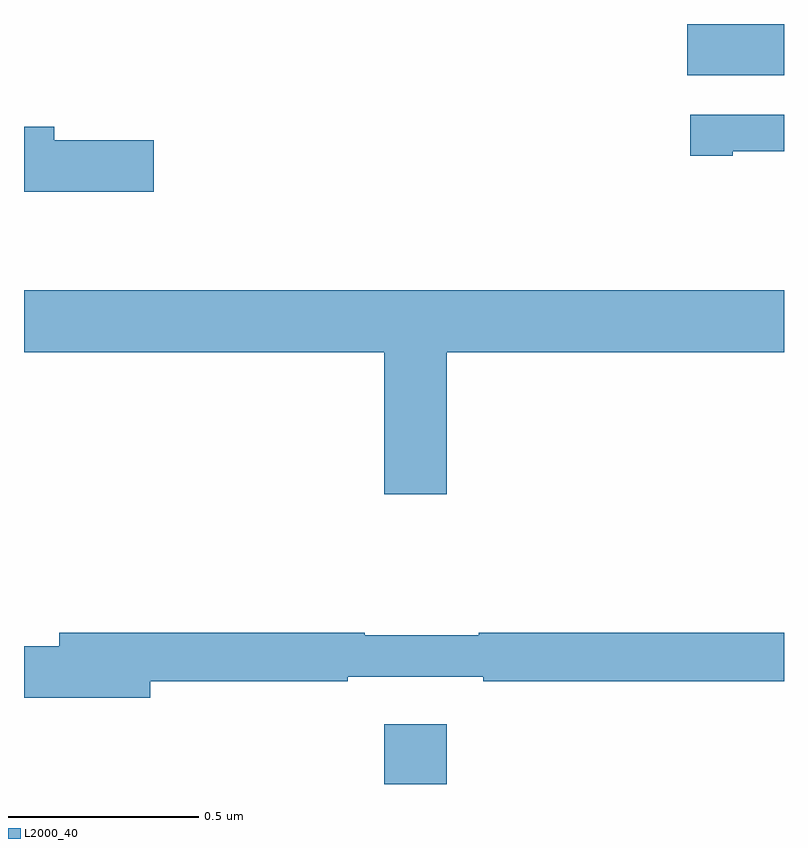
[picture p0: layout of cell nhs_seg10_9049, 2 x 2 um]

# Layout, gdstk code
import gdstk
lib = gdstk.Library(unit=1e-6, precision=1e-09)
def R(c, l, rs):  # rectangles x0, y0, x1, y1
    for r in rs: c.add(gdstk.rectangle(r[:2], r[2:], *l))
def P(c, l, *ps):  # polygons
    for p in ps: c.add(gdstk.Polygon(p, *l))
L2000_40 = (2000, 40)

nhs_seg10_9049 = lib.new_cell('nhs_seg10_9049')
R(nhs_seg10_9049, L2000_40, [(224.948,1312.5,225.112,1312.657), (225.746,1314.365,226,1314.5)])
P(nhs_seg10_9049, L2000_40, [(225.865,1314.165),(226,1314.165),(226,1314.261),(225.753,1314.261),(225.753,1314.153),(225.865,1314.153)],
  [(224.341,1314.194),(224.08,1314.194),(224.08,1314.23),(224,1314.23),(224,1314.059),(224.341,1314.059)],
  [(225.112,1313.636),(226,1313.636),(226,1313.8),(224,1313.8),(224,1313.636),(224.948,1313.636),(224.948,1313.262),(225.112,1313.262)],
  [(224.332,1312.77),(224.852,1312.77),(224.852,1312.782),(225.208,1312.782),(225.208,1312.77),(226,1312.77),(226,1312.898),(225.197,1312.898),(225.197,1312.891),(224.897,1312.891),(224.897,1312.898),(224.093,1312.898),(224.093,1312.862),(224,1312.862),(224,1312.727),(224.332,1312.727)])

lib.write_gds('nhs_seg10_9049.gds')
